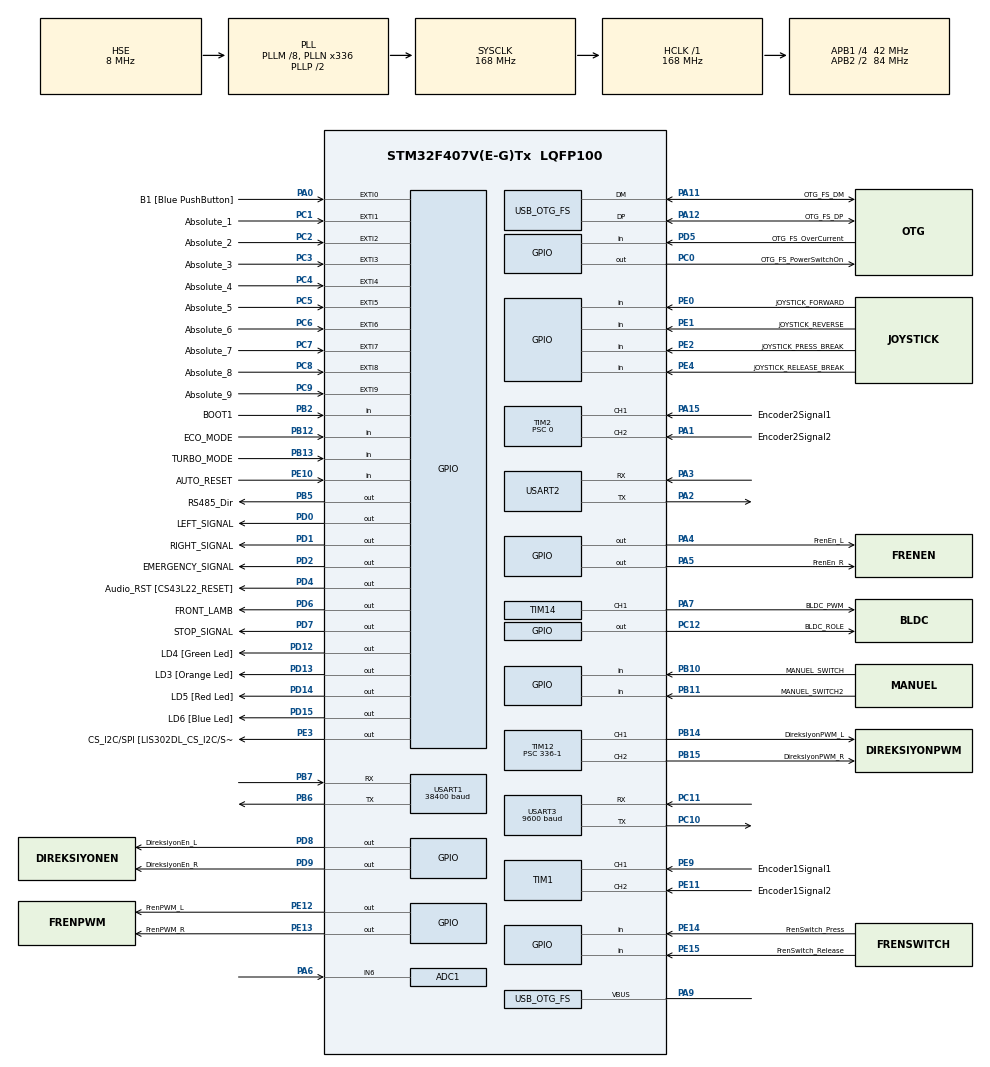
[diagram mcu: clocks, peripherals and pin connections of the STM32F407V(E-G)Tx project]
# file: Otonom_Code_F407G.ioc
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ADC1.Channel-2\#ChannelRegularConversion=ADC_CHANNEL_6
ADC1.ContinuousConvMode=ENABLE
ADC1.NbrOfConversionFlag=1
ADC1.Rank-2\#ChannelRegularConversion=1
ADC1.Resolution=ADC_RESOLUTION_8B
ADC1.SamplingTime-2\#ChannelRegularConversion=ADC_SAMPLETIME_3CYCLES
ADC1.master=1
Mcu.Family=STM32F4
Mcu.Name=STM32F407V(E-G)Tx
Mcu.Package=LQFP100
NVIC.EXTI1_IRQn=true\:0\:0\:false\:false\:true\:true\:true\:true
NVIC.EXTI2_IRQn=true\:0\:0\:false\:false\:true\:true\:true\:true
NVIC.EXTI3_IRQn=true\:0\:0\:false\:false\:true\:true\:true\:true
NVIC.EXTI4_IRQn=true\:0\:0\:false\:false\:true\:true\:true\:true
NVIC.EXTI9_5_IRQn=true\:0\:0\:false\:false\:true\:true\:true\:true
NVIC.OTG_FS_IRQn=true\:0\:0\:false\:false\:true\:true\:true\:true
NVIC.PriorityGroup=NVIC_PRIORITYGROUP_0
NVIC.TIM1_UP_TIM10_IRQn=true\:0\:0\:false\:false\:true\:true\:true\:true
NVIC.USART1_IRQn=true\:0\:0\:false\:false\:true\:true\:true\:true
NVIC.USART3_IRQn=true\:0\:0\:false\:false\:true\:true\:true\:true
PA0-WKUP.GPIO_Label=B1 [Blue PushButton]
PA0-WKUP.GPIO_ModeDefaultEXTI=GPIO_MODE_EVT_RISING
PA0-WKUP.GPIO_PuPd=GPIO_NOPULL
PA0-WKUP.Signal=GPXTI0
PA1.GPIO_Label=Encoder2Signal2
PA1.GPIO_PuPd=GPIO_NOPULL
PA1.Signal=S_TIM2_CH2
PA10.Signal=USB_OTG_FS_ID
PA11.GPIO_Label=OTG_FS_DM
PA11.GPIO_Mode=GPIO_MODE_AF_PP
PA11.GPIO_PuPd=GPIO_NOPULL
PA11.GPIO_Speed=GPIO_SPEED_FREQ_VERY_HIGH
PA11.Mode=Host_Only
PA11.Signal=USB_OTG_FS_DM
PA12.GPIO_Label=OTG_FS_DP
PA12.GPIO_Mode=GPIO_MODE_AF_PP
PA12.GPIO_PuPd=GPIO_NOPULL
PA12.GPIO_Speed=GPIO_SPEED_FREQ_VERY_HIGH
PA12.Mode=Host_Only
PA12.Signal=USB_OTG_FS_DP
PA13.GPIO_Label=SWDIO
PA13.Mode=Serial_Wire
PA13.Signal=SYS_JTMS-SWDIO
PA14.GPIO_Label=SWCLK
PA14.Mode=Serial_Wire
PA14.Signal=SYS_JTCK-SWCLK
PA15.GPIO_Label=Encoder2Signal1
PA15.GPIO_PuPd=GPIO_NOPULL
PA15.Signal=S_TIM2_CH1_ETR
PA2.Mode=Asynchronous
PA2.Signal=USART2_TX
PA3.Mode=Asynchronous
PA3.Signal=USART2_RX
PA4.GPIO_Label=FrenEn_L
PA4.Signal=GPIO_Output
PA5.GPIO_Label=FrenEn_R
PA5.Signal=GPIO_Output
PA6.Signal=ADCx_IN6
PA7.GPIO_Label=BLDC_PWM
PA7.Signal=S_TIM14_CH1
PA9.Mode=Activate_VBUS
PA9.Signal=USB_OTG_FS_VBUS
PB10.GPIO_Label=MANUEL_SWITCH
PB10.GPIO_PuPd=GPIO_PULLUP
PB10.Signal=GPIO_Input
PB11.GPIO_Label=MANUEL_SWITCH2
PB11.GPIO_PuPd=GPIO_PULLUP
PB11.Signal=GPIO_Input
PB12.GPIO_Label=ECO_MODE
PB12.GPIO_PuPd=GPIO_PULLUP
PB12.Signal=GPIO_Input
PB13.GPIO_Label=TURBO_MODE
PB13.GPIO_PuPd=GPIO_PULLUP
PB13.Signal=GPIO_Input
PB14.GPIO_Label=DireksiyonPWM_L
PB14.Signal=S_TIM12_CH1
PB15.GPIO_Label=DireksiyonPWM_R
PB15.Signal=S_TIM12_CH2
PB2.GPIO_Label=BOOT1
PB2.GPIO_Mode=GPIO_MODE_INPUT
PB2.GPIO_PuPd=GPIO_NOPULL
PB2.Signal=GPIO_Input
PB3.GPIO_Label=SWO
PB3.Signal=SYS_JTDO-SWO
PB5.GPIO_Label=RS485_Dir
PB5.Signal=GPIO_Output
PB6.Mode=Asynchronous
PB6.Signal=USART1_TX
PB7.Mode=Asynchronous
PB7.Signal=USART1_RX
PC0.GPIO_Label=OTG_FS_PowerSwitchOn
PC0.GPIO_PuPd=GPIO_NOPULL
PC0.GPIO_Speed=GPIO_SPEED_FREQ_LOW
PC0.PinState=GPIO_PIN_SET
PC0.Signal=GPIO_Output
PC1.GPIO_Label=Absolute_1
PC1.GPIO_ModeDefaultEXTI=GPIO_MODE_IT_RISING_FALLING
PC1.Signal=GPXTI1
PC10.Mode=Asynchronous
PC10.Signal=USART3_TX
PC11.Mode=Asynchronous
PC11.Signal=USART3_RX
PC12.GPIO_Label=BLDC_ROLE
PC12.GPIO_PuPd=GPIO_PULLDOWN
PC12.Signal=GPIO_Output
PC14-OSC32_IN.GPIO_Label=PC14-OSC32_IN
PC14-OSC32_IN.Mode=LSE-External-Oscillator
PC14-OSC32_IN.Signal=RCC_OSC32_IN
PC15-OSC32_OUT.GPIO_Label=PC15-OSC32_OUT
PC15-OSC32_OUT.Mode=LSE-External-Oscillator
PC15-OSC32_OUT.Signal=RCC_OSC32_OUT
PC2.GPIO_Label=Absolute_2
PC2.GPIO_ModeDefaultEXTI=GPIO_MODE_IT_RISING_FALLING
PC2.Signal=GPXTI2
PC3.GPIO_Label=Absolute_3
PC3.GPIO_ModeDefaultEXTI=GPIO_MODE_IT_RISING_FALLING
PC3.Signal=GPXTI3
PC4.GPIO_Label=Absolute_4
PC4.GPIO_ModeDefaultEXTI=GPIO_MODE_IT_RISING_FALLING
PC4.Signal=GPXTI4
PC5.GPIO_Label=Absolute_5
PC5.GPIO_ModeDefaultEXTI=GPIO_MODE_IT_RISING_FALLING
PC5.Signal=GPXTI5
PC6.GPIO_Label=Absolute_6
PC6.GPIO_ModeDefaultEXTI=GPIO_MODE_IT_RISING_FALLING
PC6.Signal=GPXTI6
PC7.GPIO_Label=Absolute_7
PC7.GPIO_ModeDefaultEXTI=GPIO_MODE_IT_RISING_FALLING
PC7.Signal=GPXTI7
PC8.GPIO_Label=Absolute_8
PC8.GPIO_ModeDefaultEXTI=GPIO_MODE_IT_RISING_FALLING
PC8.Signal=GPXTI8
PC9.GPIO_Label=Absolute_9
PC9.GPIO_ModeDefaultEXTI=GPIO_MODE_IT_RISING_FALLING
PC9.Signal=GPXTI9
PD0.GPIO_Label=LEFT_SIGNAL
PD0.GPIO_PuPd=GPIO_PULLDOWN
PD0.Signal=GPIO_Output
PD1.GPIO_Label=RIGHT_SIGNAL
PD1.GPIO_PuPd=GPIO_PULLDOWN
PD1.Signal=GPIO_Output
PD12.GPIO_Label=LD4 [Green Led]
PD12.GPIO_PuPd=GPIO_NOPULL
PD12.GPIO_Speed=GPIO_SPEED_FREQ_LOW
PD12.Signal=GPIO_Output
PD13.GPIO_Label=LD3 [Orange Led]
PD13.GPIO_PuPd=GPIO_NOPULL
PD13.GPIO_Speed=GPIO_SPEED_FREQ_LOW
PD13.Signal=GPIO_Output
PD14.GPIO_Label=LD5 [Red Led]
PD14.GPIO_PuPd=GPIO_NOPULL
PD14.GPIO_Speed=GPIO_SPEED_FREQ_LOW
PD14.Signal=GPIO_Output
PD15.GPIO_Label=LD6 [Blue Led]
PD15.GPIO_PuPd=GPIO_NOPULL
PD15.GPIO_Speed=GPIO_SPEED_FREQ_LOW
PD15.Signal=GPIO_Output
PD2.GPIO_Label=EMERGENCY_SIGNAL
PD2.GPIO_PuPd=GPIO_PULLUP
PD2.Signal=GPIO_Output
PD4.GPIO_Label=Audio_RST [CS43L22_RESET]
PD4.GPIO_PuPd=GPIO_NOPULL
PD4.GPIO_Speed=GPIO_SPEED_FREQ_LOW
PD4.Signal=GPIO_Output
PD5.GPIO_Label=OTG_FS_OverCurrent
PD5.GPIO_Mode=GPIO_MODE_INPUT
PD5.GPIO_PuPd=GPIO_NOPULL
PD5.Signal=GPIO_Input
PD6.GPIO_Label=FRONT_LAMB
PD6.GPIO_PuPd=GPIO_PULLDOWN
PD6.Signal=GPIO_Output
PD7.GPIO_Label=STOP_SIGNAL
PD7.GPIO_PuPd=GPIO_PULLDOWN
PD7.Signal=GPIO_Output
PD8.GPIO_Label=DireksiyonEn_L
PD8.Signal=GPIO_Output
PD9.GPIO_Label=DireksiyonEn_R
PD9.Signal=GPIO_Output
PE0.GPIO_Label=JOYSTICK_FORWARD
PE0.GPIO_PuPd=GPIO_PULLUP
PE0.Signal=GPIO_Input
PE1.GPIO_Label=JOYSTICK_REVERSE
PE1.GPIO_PuPd=GPIO_PULLUP
PE1.Signal=GPIO_Input
PE10.GPIO_Label=AUTO_RESET
PE10.GPIO_PuPd=GPIO_PULLUP
PE10.Signal=GPIO_Input
PE11.GPIO_Label=Encoder1Signal2
PE11.Signal=S_TIM1_CH2
PE12.GPIO_Label=FrenPWM_L
PE12.Signal=GPIO_Output
PE13.GPIO_Label=FrenPWM_R
PE13.Signal=GPIO_Output
PE14.GPIO_Label=FrenSwitch_Press
PE14.GPIO_PuPd=GPIO_PULLUP
PE14.Signal=GPIO_Input
PE15.GPIO_Label=FrenSwitch_Release
PE15.GPIO_PuPd=GPIO_PULLUP
PE15.Signal=GPIO_Input
PE2.GPIO_Label=JOYSTICK_PRESS_BREAK
PE2.GPIO_PuPd=GPIO_PULLUP
PE2.Signal=GPIO_Input
PE3.GPIO_Label=CS_I2C/SPI [LIS302DL_CS_I2C/SPI]
PE3.GPIO_PuPd=GPIO_NOPULL
PE3.GPIO_Speed=GPIO_SPEED_FREQ_LOW
PE3.Signal=GPIO_Output
PE4.GPIO_Label=JOYSTICK_RELEASE_BREAK
PE4.GPIO_PuPd=GPIO_PULLUP
PE4.Signal=GPIO_Input
PE9.GPIO_Label=Encoder1Signal1
PE9.Signal=S_TIM1_CH1
PH0-OSC_IN.GPIO_Label=PH0-OSC_IN
PH0-OSC_IN.Mode=HSE-External-Clock-Source
PH0-OSC_IN.Signal=RCC_OSC_IN
PH1-OSC_OUT.GPIO_Label=PH1-OSC_OUT
PH1-OSC_OUT.Mode=HSE-External-Clock-Source
PH1-OSC_OUT.Signal=RCC_OSC_OUT
ProjectManager.HeapSize=0x200
ProjectManager.StackSize=0x400
ProjectManager.TargetToolchain=STM32CubeIDE
RCC.48MHZClocksFreq_Value=48000000
RCC.AHBFreq_Value=168000000
RCC.APB1CLKDivider=RCC_HCLK_DIV4
RCC.APB1Freq_Value=42000000
RCC.APB1TimFreq_Value=84000000
RCC.APB2CLKDivider=RCC_HCLK_DIV2
RCC.APB2Freq_Value=84000000
RCC.APB2TimFreq_Value=168000000
RCC.CortexFreq_Value=168000000
RCC.HCLKFreq_Value=168000000
RCC.HSE_VALUE=8000000
RCC.HSI_VALUE=16000000
RCC.PLLM=8
RCC.PLLN=336
RCC.PLLQ=7
RCC.SYSCLKFreq_VALUE=168000000
RCC.SYSCLKSource=RCC_SYSCLKSOURCE_PLLCLK
RCC.VCOOutputFreq_Value=336000000
SH.ADCx_IN6.0=ADC1_IN6,IN6
SH.S_TIM12_CH1.0=TIM12_CH1,PWM Generation1 CH1
SH.S_TIM12_CH2.0=TIM12_CH2,PWM Generation2 CH2
SH.S_TIM14_CH1.0=TIM14_CH1,PWM Generation1 CH1
SH.S_TIM1_CH1.0=TIM1_CH1,Encoder_Interface
SH.S_TIM1_CH2.0=TIM1_CH2,Encoder_Interface
SH.S_TIM2_CH1_ETR.0=TIM2_CH1,Encoder_Interface
SH.S_TIM2_CH2.0=TIM2_CH2,Encoder_Interface
TIM1.EncoderMode=TIM_ENCODERMODE_TI12
TIM10.Period=100-1
TIM10.Prescaler=336-1
TIM12.Channel-PWM\ Generation1\ CH1=TIM_CHANNEL_1
TIM12.Channel-PWM\ Generation2\ CH2=TIM_CHANNEL_2
TIM12.Period=100-1
TIM12.Prescaler=336-1
TIM14.Channel=TIM_CHANNEL_1
TIM14.Period=100-1
TIM14.Prescaler=840-1
TIM2.Prescaler=0
USART1.BaudRate=38400
USART1.VirtualMode=VM_ASYNC
USART2.VirtualMode=VM_ASYNC
USART3.BaudRate=9600
USART3.VirtualMode=VM_ASYNC
USB_HOST.BSP.number=1
USB_HOST.USBH_HandleTypeDef-HID_FS=hUsbHostFS
USB_HOST.VirtualModeFS=Hid
USB_HOST0.BSP.STBoard=false
USB_HOST0.BSP.api=Unknown
USB_HOST0.BSP.condition=SW_VBUS_DRIVE_HID_FS \= false
USB_HOST0.BSP.instance=PC0
USB_HOST0.BSP.ip=GPIO
USB_HOST0.BSP.mode=Output
USB_HOST0.BSP.name=Drive_VBUS_FS
USB_HOST0.BSP.solution=PC0
USB_OTG_FS.VirtualMode=Host_Only
USB_OTG_FS.phy_itface=HCD_PHY_EMBEDDED
VP_TIM10_VS_ClockSourceINT.Mode=Enable_Timer
VP_TIM14_VS_ClockSourceINT.Mode=Enable_Timer
VP_USB_HOST_VS_USB_HOST_HID_FS.Mode=HID_FS
board=STM32F407G-DISC1

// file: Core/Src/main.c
/* USER CODE BEGIN Header */
/**
  ******************************************************************************
  * @file           : main.c
  * @brief          : Main program body
  ******************************************************************************
  * @attention
  *
  * Copyright (c) 2023 STMicroelectronics.
  * All rights reserved.
  *
  * This software is licensed under terms that can be found in the LICENSE file
  * in the root directory of this software component.
  * If no LICENSE file comes with this software, it is provided AS-IS.
  *
  ******************************************************************************
  */

/**
 ***************************************************************************************
 *Merhaba arkadaşlar Otonom AKS son kodu aşağıda görüldüğü gibidir lütfen kodlar üstünde (2023-2024)
 *Oynama yapılmamalıdır
 *Berkay Aşık
 *Samet Aygün
 *Kaan Avcı
 *Esma Arhan
 *Emirhan Akdemir tarafından hazırlanmıştır.
 *Everything for my everything
 *
 ***************************************************************************************
 */

/* USER CODE END Header */
#include "main.h"
#include "usb_host.h"

/* USER CODE BEGIN Includes */
#include "../../modules/wheels/wheel.h"
#include "../../modules/break/break.h"
#include "../../modules/bldc/bldc.h"
#include "../../modules/modbus/modbus.h"
#include "../../modules/role/role.h"
#include "../../modules/manuel/manuel.h"
#include "lwgps/lwgps.h"
#include "usbh_hid.h"

wheel_adjust_t wheelParameters = {0} ;
switchBreak_adjust_t breakParameters = {0};
role_State_Adjust_t roleParameters = {0};
manuel_mode_t manuelParameters = {0};
int16_t back_Encoder = 0;
uint16_t wantedWheelDegree = 0;
int16_t wantedSpeed=0;
int16_t resetBackEncoder =0;
uint8_t setAdc  = 6;
uint8_t setSpeed = 10;
uint8_t pActiveCount = 0;
int16_t isReset=0;
char key;

lwgps_t gps;
uint8_t rx_data = 0;
uint8_t rx_buffer[128];
uint8_t rx_index = 0;

modbusRegister_t ModbusRegister[MODBUS_REGISTER_NUMBER];

#define wheel_offset 0 // Eğer ki offset (0 noktasında encoderın değeri) 0 değil ise değeri -4 ile çarp, +4 ekle ve  wheel_offsetin şuanki durumu ile topla (Direksiyon İçin)

/* USER CODE END Includes */

ADC_HandleTypeDef hadc1;

TIM_HandleTypeDef htim1;
TIM_HandleTypeDef htim2;
TIM_HandleTypeDef htim10;
TIM_HandleTypeDef htim12;
TIM_HandleTypeDef htim14;

UART_HandleTypeDef huart1;
UART_HandleTypeDef huart2;
UART_HandleTypeDef huart3;

void SystemClock_Config(void);
static void MX_GPIO_Init(void);
static void MX_TIM1_Init(void);
static void MX_TIM2_Init(void);
static void MX_TIM12_Init(void);
static void MX_TIM14_Init(void);
static void MX_USART1_UART_Init(void);
static void MX_USART2_UART_Init(void);
static void MX_TIM10_Init(void);
static void MX_ADC1_Init(void);
static void MX_USART3_UART_Init(void);
void MX_USB_HOST_Process(void);

/* USER CODE BEGIN 0 */

void USBH_HID_EventCallback(USBH_HandleTypeDef *phost){

	if (USBH_HID_GetDeviceType(phost)==HID_KEYBOARD){

		HID_KEYBD_Info_TypeDef *keyboardInfo;

		keyboardInfo = USBH_HID_GetKeybdInfo(phost);
		key  =  USBH_HID_GetASCIICode(keyboardInfo);

	}

}

void HAL_UART_RxCpltCallback(UART_HandleTypeDef *huart)
{
	if(huart == &huart3) {
		if(rx_data != '\n' && rx_index < sizeof(rx_buffer)) {
			rx_buffer[rx_index++] = rx_data;
		} else {
			lwgps_process(&gps, rx_buffer, rx_index+1);
			rx_index = 0;
			rx_data = 0;
		}
	}
	HAL_UART_Receive_IT(&huart3, &rx_data, 1); // Bu if bloğunun içinde olduğundan herhalde data göndermiyor olabilir ama bilmiyorum

}

void HAL_TIM_PeriodElapsedCallback(TIM_HandleTypeDef *htim)
{

	if(htim->Instance == TIM10)
	{

		switchAdjust(&roleParameters);  //Röle ayarlama kodu
		getMode(&manuelParameters);    // Mod ayarlama kodu

//****AUTO RESET CODE BEGIN****//

		if (!HAL_GPIO_ReadPin(AUTO_RESET_GPIO_Port, AUTO_RESET_Pin)) {

					isReset = 1;
				}

//****AUTO RESET CODE END****//

//****JOYSTICK CODE AUTOMODE BEGIN****//

		if(manuelParameters.mod == AUTOMODE){

			adjustBldc(wantedSpeed); // Hız ayarlama kodu

		}

//****JOYSTICK CODE AUTOMODE END****//

//****JOYSTICK CODE BEGIN****//

if(manuelParameters.mod==MANUELMODE || manuelParameters.mod==PRIVATMODE ){

		readAdc_speed(&manuelParameters);

   if(!HAL_GPIO_ReadPin(JOYSTICK_REVERSE_GPIO_Port, JOYSTICK_REVERSE_Pin)){

	   	roleParameters.bldc_signal_i=1;
		delay_ms(100);
		wantedSpeed=0;
		adjustBldc(wantedSpeed);
		delay_ms(100);

		if (manuelParameters.adc_Speed <= 6) {
		wantedSpeed = manuelParameters.adc_Speed;
		adjustBldc(wantedSpeed);
		}
		else if (manuelParameters.adc_Speed > 6 ) {
			wantedSpeed = 6;
			adjustBldc(wantedSpeed);
		}
	}

	if(!HAL_GPIO_ReadPin(JOYSTICK_PRESS_BREAK_GPIO_Port,JOYSTICK_PRESS_BREAK_Pin)){

		wantedSpeed=0;
		adjustBldc(wantedSpeed);
		delay_ms(100);
		breakParameters.pressing_break=1;
		breakAdjust(&breakParameters,&roleParameters);
		breakCheckSwitchStatus(&breakParameters);

	}

	if(!HAL_GPIO_ReadPin(JOYSTICK_RELEASE_BREAK_GPIO_Port,JOYSTICK_RELEASE_BREAK_Pin)){

		wantedSpeed=0;
		adjustBldc(wantedSpeed);
		delay_ms(100);
		breakParameters.pressing_break=0;
		breakAdjust(&breakParameters,&roleParameters);
		breakCheckSwitchStatus(&breakParameters);

	}

//**MANUELMODE CODE BEGIN**//

if(manuelParameters.mod==MANUELMODE){

if(!HAL_GPIO_ReadPin(JOYSTICK_FORWARD_GPIO_Port, JOYSTICK_FORWARD_Pin)){

		roleParameters.bldc_signal_i=0;
		delay_ms(100);
		wantedSpeed=0;
		adjustBldc(wantedSpeed);
		delay_ms(100);

		wantedSpeed = manuelParameters.adc_Speed;
		adjustBldc(wantedSpeed);

	}
}

//**MANUELMODE CODE END**//

//**PRIVATMODE CODE BEGIN**//

if(manuelParameters.mod==PRIVATMODE){

	if(!HAL_GPIO_ReadPin(JOYSTICK_FORWARD_GPIO_Port, JOYSTICK_FORWARD_Pin)){

			roleParameters.bldc_signal_i=0;
			delay_ms(100);
			wantedSpeed=0;
			adjustBldc(wantedSpeed);
			delay_ms(100);

			wantedSpeed = manuelParameters.adc_Speed;
			adjustBldc(wantedSpeed);

		}
	}

//**PRIVATMODE CODE END**//

	}

//****JOYSTICK CODE END****//

//****REMOTECONTROLMODE CODE BEGIN****//

	if(key== 'w' ||key=='W'){

		roleParameters.bldc_signal_i =0;
		adjustBldc(0);
		wantedSpeed = 6;
		adjustBldc(wantedSpeed);

	}

	if(key== 'a' ||key=='A'){

	wheelParameters.wantedDegreeTemp=wheelParameters.wantedDegreeTemp+-1;

	}

	if(key== 'd' ||key=='D'){

			wheelParameters.wantedDegreeTemp=wheelParameters.wantedDegreeTemp+1;

	}

	if(key== 's' ||key=='S'){

		roleParameters.bldc_signal_i =1;
		adjustBldc(0);
		wantedSpeed = 6;
		adjustBldc(wantedSpeed);

	}

	if(key== 'z' ||key=='Z'){

		wantedSpeed = 0;
		adjustBldc(wantedSpeed);
		breakParameters.pressing_break =0;

				}

	if(key== 'x' ||key=='X'){

		wantedSpeed = 0;
		adjustBldc(wantedSpeed);
		breakParameters.pressing_break =1;

			}

	if(key== 'e' ||key=='E'){

		roleParameters.emergency_signal_i=1;

				}

	if(key== 'q' ||key=='Q'){

			isReset=1;

	}

//****REMOTECONTROLMODE END****//

		breakCheckSwitchStatus(&breakParameters);   // BREAK SWITCH CONTROL
		breakAdjust(&breakParameters,&roleParameters);  // BREAK PRESS CONTROL

//****WHEEL CODE BEGIN****//

		//wheel_degree = (GPIOB->IDR >> 4)&0x1FF;
		if(HAL_GPIO_ReadPin(B1_GPIO_Port, B1_Pin)){
			__HAL_TIM_SET_COUNTER(&htim1,0);
			wheelParameters.wantedDegree = 0;
		}

		wheelParameters.wheel_manuel = (((int16_t)__HAL_TIM_GET_COUNTER(&htim1) >> 6)* (-1) );

		 wheelParameters.currrentDegreeTemp = (((GPIOC->IDR) >> 1) & 0x1FF);
		 wheelParameters.currrentDegreeTemp += wheel_offset;
		 if(wheelParameters.currrentDegreeTemp > 180) {
			 wheelParameters.currrentDegreeTemp -= 360;
		 }
		 wheelParameters.currrentDegreeTemp = wheelParameters.currrentDegreeTemp >> 2;
		 wheelParameters.currrentDegree = wheelParameters.currrentDegreeTemp;

		 back_Encoder = ((int16_t)__HAL_TIM_GET_COUNTER(&htim2) / 2.25) ;  // Arka encoder okuma

		if (wheelParameters.wantedDegreeTemp > 40 && (manuelParameters.mod == AUTOMODE || manuelParameters.mod==REMOTECONTROLMODE )){
			wheelParameters.wantedDegreeTemp=40;
			wheelParameters.wantedDegree = 40;
		}
		else if (wheelParameters.wantedDegreeTemp < -40  && (manuelParameters.mod == AUTOMODE || manuelParameters.mod==REMOTECONTROLMODE)){
			wheelParameters.wantedDegreeTemp= -40;

			wheelParameters.wantedDegree = -40;
		}
		else if (manuelParameters.mod == AUTOMODE) {
			wheelParameters.wantedDegree= wheelParameters.wantedDegreeTemp;
		}
		else if (wheelParameters.wheel_manuel > 40 && (manuelParameters.mod == MANUELMODE ||  manuelParameters.mod == PRIVATMODE)) {
			wheelParameters.wantedDegree = 40;

		}
		else if (wheelParameters.wheel_manuel < -40  && (manuelParameters.mod == MANUELMODE ||  manuelParameters.mod == PRIVATMODE)) {
					wheelParameters.wantedDegree = -40;
		}

		else {
			wheelParameters.wantedDegree = wheelParameters.wheel_manuel;

		}
		if(wheelParameters.wantedDegree > wheelParameters.currrentDegree)
		{

			if(wheelParameters.status != TurningRight)
			{
				//Turn Wheel Right
				//Call Function that turn wheel Right
				wheelParameters.status = TurningRight;
				wheelTurnRight(&wheelParameters);
			}
		}
		else if(wheelParameters.wantedDegree < wheelParameters.currrentDegree)
		{

			if(wheelParameters.status != TurningLeft)
			{
				//Turn Wheel Left
				//Call Function that turn wheels Left
				wheelParameters.status = TurningLeft;
				wheelTurnLeft(&wheelParameters);
			}
		}
		else
		{
			//Stop Turn Right Command And Left Command
			if(wheelParameters.status != NoTurning)
			{
				//Stop Wheel
				//Call Function Stop wheels
				wheelParameters.status = NoTurning;
				wheelStop(&wheelParameters);
			}
		}

	}

}

//****WHEEL CODE END****//

//****ADJUST MODBUS REGISTER BEGIN****//

void pointerWorks(){

	ModbusRegister[0].modbusregister = &wheelParameters.wantedDegreeTemp;
	ModbusRegister[1].modbusregister = &breakParameters.pressing_break;
	ModbusRegister[2].modbusregister = &wantedSpeed;
	ModbusRegister[3].modbusregister = &wheelParameters.currrentDegree;
	ModbusRegister[4].modbusregister = (int16_t *)breakParameters.switchStatus_press;
	ModbusRegister[5].modbusregister = (int16_t *)breakParameters.switchStatus_release;
	ModbusRegister[6].modbusregister = &back_Encoder;
	ModbusRegister[7].modbusregister = &roleParameters.bldc_signal_i;
	ModbusRegister[8].modbusregister = &roleParameters.left_signal_i;
	ModbusRegister[9].modbusregister = &roleParameters.right_signal_i;
	ModbusRegister[10].modbusregister = &roleParameters.emergency_signal_i;
	ModbusRegister[11].modbusregister = &roleParameters.front_signal_i;
	ModbusRegister[12].modbusregister = (int16_t *)&manuelParameters.mod;
	ModbusRegister[13].modbusregister = &resetBackEncoder;
	ModbusRegister[14].modbusregister = (int16_t *)&gps.latitude;
	ModbusRegister[15].modbusregister = (int16_t *)&gps.longitude;
	ModbusRegister[16].modbusregister = (int16_t *)&gps.speed;
	ModbusRegister[17].modbusregister = (int16_t *)&gps.altitude;
	ModbusRegister[18].modbusregister = (int16_t *)&gps.is_valid;

}
//****ADJUST MODBUS REGISTER END****//

/* USER CODE END 0 */

int main(void)
{

  /* MCU Configuration--------------------------------------------------------*/

  /* Reset of all peripherals, Initializes the Flash interface and the Systick. */
  HAL_Init();

  /* Configure the system clock */
  SystemClock_Config();

  /* Initialize all configured peripherals */
  MX_GPIO_Init();
  MX_TIM1_Init();
  MX_TIM2_Init();
  MX_TIM12_Init();
  MX_TIM14_Init();
  MX_USART1_UART_Init();
  MX_USART2_UART_Init();
  MX_USB_HOST_Init();
  MX_TIM10_Init();
  MX_ADC1_Init();
  MX_USART3_UART_Init();
  /* USER CODE BEGIN 2 */
  HAL_TIM_Encoder_Start_IT(&htim1, TIM_CHANNEL_ALL);
  HAL_TIM_Encoder_Start_IT(&htim2, TIM_CHANNEL_ALL);
  HAL_TIM_Base_Start_IT(&htim10);
  wheelInit();
  bldcInit();
  breakInit();
  pointerWorks();
  modbus_Init(ModbusRegister);
  HAL_ADC_Init(&hadc1);
  HAL_GPIO_WritePin(GPIOC, GPIO_PIN_0, GPIO_PIN_RESET);
  lwgps_init(&gps);
  HAL_UART_Receive_IT(&huart3, &rx_data, 1);

  /* USER CODE END 2 */

  /* Infinite loop */
  /* USER CODE BEGIN WHILE */
  while (1)
  {
	    MX_USB_HOST_Process();

	    modbus_Loop();   //MODBUS COMMUNACATION BEGIN

	     if(isReset ==1){

	    			wheelParameters.wantedDegreeTemp=0;
	    			breakParameters.pressing_break=0;
	    			__HAL_TIM_SET_COUNTER(&htim2,0);
	    			isReset=0;

	    		}
	    		if(resetBackEncoder==1){
	    			__HAL_TIM_SET_COUNTER(&htim2,0);
	    			roleParameters.bldc_signal_i=0;
	    			resetBackEncoder=0;
	    		}

    /* USER CODE END WHILE */
    MX_USB_HOST_Process();

  }
}

void SystemClock_Config(void)
{
  RCC_OscInitTypeDef RCC_OscInitStruct = {0};
  RCC_ClkInitTypeDef RCC_ClkInitStruct = {0};

  /** Configure the main internal regulator output voltage
  */
  __HAL_RCC_PWR_CLK_ENABLE();
  __HAL_PWR_VOLTAGESCALING_CONFIG(PWR_REGULATOR_VOLTAGE_SCALE1);

  /** Initializes the RCC Oscillators according to the specified parameters
  * in the RCC_OscInitTypeDef structure.
  */
  RCC_OscInitStruct.OscillatorType = RCC_OSCILLATORTYPE_HSE;
  RCC_OscInitStruct.HSEState = RCC_HSE_BYPASS;
  RCC_OscInitStruct.PLL.PLLState = RCC_PLL_ON;
  RCC_OscInitStruct.PLL.PLLSource = RCC_PLLSOURCE_HSE;
  RCC_OscInitStruct.PLL.PLLM = 8;
  RCC_OscInitStruct.PLL.PLLN = 336;
  RCC_OscInitStruct.PLL.PLLP = RCC_PLLP_DIV2;
  RCC_OscInitStruct.PLL.PLLQ = 7;
  if (HAL_RCC_OscConfig(&RCC_OscInitStruct) != HAL_OK)
  {
    Error_Handler();
  }

  /** Initializes the CPU, AHB and APB buses clocks
  */
  RCC_ClkInitStruct.ClockType = RCC_CLOCKTYPE_HCLK|RCC_CLOCKTYPE_SYSCLK
                              |RCC_CLOCKTYPE_PCLK1|RCC_CLOCKTYPE_PCLK2;
  RCC_ClkInitStruct.SYSCLKSource = RCC_SYSCLKSOURCE_PLLCLK;
  RCC_ClkInitStruct.AHBCLKDivider = RCC_SYSCLK_DIV1;
  RCC_ClkInitStruct.APB1CLKDivider = RCC_HCLK_DIV4;
  RCC_ClkInitStruct.APB2CLKDivider = RCC_HCLK_DIV2;

  if (HAL_RCC_ClockConfig(&RCC_ClkInitStruct, FLASH_LATENCY_5) != HAL_OK)
  {
    Error_Handler();
  }
}

static void MX_ADC1_Init(void)
{

  ADC_ChannelConfTypeDef sConfig = {0};

  /** Configure the global features of the ADC (Clock, Resolution, Data Alignment and number of conversion)
  */
  hadc1.Instance = ADC1;
  hadc1.Init.ClockPrescaler = ADC_CLOCK_SYNC_PCLK_DIV4;
  hadc1.Init.Resolution = ADC_RESOLUTION_8B;
  hadc1.Init.ScanConvMode = DISABLE;
  hadc1.Init.ContinuousConvMode = ENABLE;
  hadc1.Init.DiscontinuousConvMode = DISABLE;
  hadc1.Init.ExternalTrigConvEdge = ADC_EXTERNALTRIGCONVEDGE_NONE;
  hadc1.Init.ExternalTrigConv = ADC_SOFTWARE_START;
  hadc1.Init.DataAlign = ADC_DATAALIGN_RIGHT;
  hadc1.Init.NbrOfConversion = 1;
  hadc1.Init.DMAContinuousRequests = DISABLE;
  hadc1.Init.EOCSelection = ADC_EOC_SINGLE_CONV;
  if (HAL_ADC_Init(&hadc1) != HAL_OK)
  {
    Error_Handler();
  }

  /** Configure for the selected ADC regular channel its corresponding rank in the sequencer and its sample time.
  */
  sConfig.Channel = ADC_CHANNEL_6;
  sConfig.Rank = 1;
  sConfig.SamplingTime = ADC_SAMPLETIME_3CYCLES;
  if (HAL_ADC_ConfigChannel(&hadc1, &sConfig) != HAL_OK)
  {
    Error_Handler();
  }

}

static void MX_TIM1_Init(void)
{

  TIM_Encoder_InitTypeDef sConfig = {0};
  TIM_MasterConfigTypeDef sMasterConfig = {0};

  htim1.Instance = TIM1;
  htim1.Init.Prescaler = 0;
  htim1.Init.CounterMode = TIM_COUNTERMODE_UP;
  htim1.Init.Period = 65535;
  htim1.Init.ClockDivision = TIM_CLOCKDIVISION_DIV1;
  htim1.Init.RepetitionCounter = 0;
  htim1.Init.AutoReloadPreload = TIM_AUTORELOAD_PRELOAD_DISABLE;
  sConfig.EncoderMode = TIM_ENCODERMODE_TI12;
  sConfig.IC1Polarity = TIM_ICPOLARITY_RISING;
  sConfig.IC1Selection = TIM_ICSELECTION_DIRECTTI;
  sConfig.IC1Prescaler = TIM_ICPSC_DIV1;
  sConfig.IC1Filter = 0;
  sConfig.IC2Polarity = TIM_ICPOLARITY_RISING;
  sConfig.IC2Selection = TIM_ICSELECTION_DIRECTTI;
  sConfig.IC2Prescaler = TIM_ICPSC_DIV1;
  sConfig.IC2Filter = 0;
  if (HAL_TIM_Encoder_Init(&htim1, &sConfig) != HAL_OK)
  {
    Error_Handler();
  }
  sMasterConfig.MasterOutputTrigger = TIM_TRGO_RESET;
  sMasterConfig.MasterSlaveMode = TIM_MASTERSLAVEMODE_DISABLE;
  if (HAL_TIMEx_MasterConfigSynchronization(&htim1, &sMasterConfig) != HAL_OK)
  {
    Error_Handler();
  }

}

static void MX_TIM2_Init(void)
{

  TIM_Encoder_InitTypeDef sConfig = {0};
  TIM_MasterConfigTypeDef sMasterConfig = {0};

  htim2.Instance = TIM2;
  htim2.Init.Prescaler = 0;
  htim2.Init.CounterMode = TIM_COUNTERMODE_UP;
  htim2.Init.Period = 4294967295;
  htim2.Init.ClockDivision = TIM_CLOCKDIVISION_DIV1;
  htim2.Init.AutoReloadPreload = TIM_AUTORELOAD_PRELOAD_DISABLE;
  sConfig.EncoderMode = TIM_ENCODERMODE_TI1;
  sConfig.IC1Polarity = TIM_ICPOLARITY_RISING;
  sConfig.IC1Selection = TIM_ICSELECTION_DIRECTTI;
  sConfig.IC1Prescaler = TIM_ICPSC_DIV1;
  sConfig.IC1Filter = 0;
  sConfig.IC2Polarity = TIM_ICPOLARITY_RISING;
  sConfig.IC2Selection = TIM_ICSELECTION_DIRECTTI;
  sConfig.IC2Prescaler = TIM_ICPSC_DIV1;
  sConfig.IC2Filter = 0;
  if (HAL_TIM_Encoder_Init(&htim2, &sConfig) != HAL_OK)
  {
    Error_Handler();
  }
  sMasterConfig.MasterOutputTrigger = TIM_TRGO_RESET;
  sMasterConfig.MasterSlaveMode = TIM_MASTERSLAVEMODE_DISABLE;
  if (HAL_TIMEx_MasterConfigSynchronization(&htim2, &sMasterConfig) != HAL_OK)
  {
    Error_Handler();
  }

}

static void MX_TIM10_Init(void)
{

  htim10.Instance = TIM10;
  htim10.Init.Prescaler = 336-1;
  htim10.Init.CounterMode = TIM_COUNTERMODE_UP;
  htim10.Init.Period = 100-1;
  htim10.Init.ClockDivision = TIM_CLOCKDIVISION_DIV1;
  htim10.Init.AutoReloadPreload = TIM_AUTORELOAD_PRELOAD_DISABLE;
  if (HAL_TIM_Base_Init(&htim10) != HAL_OK)
  {
    Error_Handler();
  }

}

static void MX_TIM12_Init(void)
{

  TIM_OC_InitTypeDef sConfigOC = {0};

  htim12.Instance = TIM12;
  htim12.Init.Prescaler = 336-1;
  htim12.Init.CounterMode = TIM_COUNTERMODE_UP;
  htim12.Init.Period = 100-1;
  htim12.Init.ClockDivision = TIM_CLOCKDIVISION_DIV1;
  htim12.Init.AutoReloadPreload = TIM_AUTORELOAD_PRELOAD_DISABLE;
  if (HAL_TIM_PWM_Init(&htim12) != HAL_OK)
  {
    Error_Handler();
  }
  sConfigOC.OCMode = TIM_OCMODE_PWM1;
  sConfigOC.Pulse = 0;
  sConfigOC.OCPolarity = TIM_OCPOLARITY_HIGH;
  sConfigOC.OCFastMode = TIM_OCFAST_DISABLE;
  if (HAL_TIM_PWM_ConfigChannel(&htim12, &sConfigOC, TIM_CHANNEL_1) != HAL_OK)
  {
    Error_Handler();
  }
  if (HAL_TIM_PWM_ConfigChannel(&htim12, &sConfigOC, TIM_CHANNEL_2) != HAL_OK)
  {
    Error_Handler();
  }
  HAL_TIM_MspPostInit(&htim12);

}

static void MX_TIM14_Init(void)
{

  TIM_OC_InitTypeDef sConfigOC = {0};

  htim14.Instance = TIM14;
  htim14.Init.Prescaler = 840-1;
  htim14.Init.CounterMode = TIM_COUNTERMODE_UP;
  htim14.Init.Period = 100-1;
  htim14.Init.ClockDivision = TIM_CLOCKDIVISION_DIV1;
  htim14.Init.AutoReloadPreload = TIM_AUTORELOAD_PRELOAD_DISABLE;
  if (HAL_TIM_Base_Init(&htim14) != HAL_OK)
  {
    Error_Handler();
  }
  if (HAL_TIM_PWM_Init(&htim14) != HAL_OK)
  {
    Error_Handler();
  }
  sConfigOC.OCMode = TIM_OCMODE_PWM1;
  sConfigOC.Pulse = 0;
  sConfigOC.OCPolarity = TIM_OCPOLARITY_HIGH;
  sConfigOC.OCFastMode = TIM_OCFAST_DISABLE;
  if (HAL_TIM_PWM_ConfigChannel(&htim14, &sConfigOC, TIM_CHANNEL_1) != HAL_OK)
  {
    Error_Handler();
  }
  HAL_TIM_MspPostInit(&htim14);

}

static void MX_USART1_UART_Init(void)
{

  huart1.Instance = USART1;
  huart1.Init.BaudRate = 38400;
  huart1.Init.WordLength = UART_WORDLENGTH_8B;
  huart1.Init.StopBits = UART_STOPBITS_1;
  huart1.Init.Parity = UART_PARITY_NONE;
  huart1.Init.Mode = UART_MODE_TX_RX;
  huart1.Init.HwFlowCtl = UART_HWCONTROL_NONE;
  huart1.Init.OverSampling = UART_OVERSAMPLING_16;
  if (HAL_UART_Init(&huart1) != HAL_OK)
  {
    Error_Handler();
  }

}

static void MX_USART2_UART_Init(void)
{

  huart2.Instance = USART2;
  huart2.Init.BaudRate = 115200;
  huart2.Init.WordLength = UART_WORDLENGTH_8B;
  huart2.Init.StopBits = UART_STOPBITS_1;
  huart2.Init.Parity = UART_PARITY_NONE;
  huart2.Init.Mode = UART_MODE_TX_RX;
  huart2.Init.HwFlowCtl = UART_HWCONTROL_NONE;
  huart2.Init.OverSampling = UART_OVERSAMPLING_16;
  if (HAL_UART_Init(&huart2) != HAL_OK)
  {
    Error_Handler();
  }

}

static void MX_USART3_UART_Init(void)
{

  huart3.Instance = USART3;
  huart3.Init.BaudRate = 9600;
  huart3.Init.WordLength = UART_WORDLENGTH_8B;
  huart3.Init.StopBits = UART_STOPBITS_1;
  huart3.Init.Parity = UART_PARITY_NONE;
  huart3.Init.Mode = UART_MODE_TX_RX;
  huart3.Init.HwFlowCtl = UART_HWCONTROL_NONE;
  huart3.Init.OverSampling = UART_OVERSAMPLING_16;
  if (HAL_UART_Init(&huart3) != HAL_OK)
  {
    Error_Handler();
  }

}

static void MX_GPIO_Init(void)
{
  GPIO_InitTypeDef GPIO_InitStruct = {0};

  /* GPIO Ports Clock Enable */
  __HAL_RCC_GPIOE_CLK_ENABLE();
  __HAL_RCC_GPIOC_CLK_ENABLE();
  __HAL_RCC_GPIOH_CLK_ENABLE();
  __HAL_RCC_GPIOA_CLK_ENABLE();
  __HAL_RCC_GPIOB_CLK_ENABLE();
  __HAL_RCC_GPIOD_CLK_ENABLE();

  /*Configure GPIO pin Output Level */
  HAL_GPIO_WritePin(GPIOE, CS_I2C_SPI_Pin|FrenPWM_L_Pin|FrenPWM_R_Pin, GPIO_PIN_RESET);

  /*Configure GPIO pin Output Level */
  HAL_GPIO_WritePin(OTG_FS_PowerSwitchOn_GPIO_Port, OTG_FS_PowerSwitchOn_Pin, GPIO_PIN_SET);

  /*Configure GPIO pin Output Level */
  HAL_GPIO_WritePin(GPIOA, FrenEn_L_Pin|FrenEn_R_Pin, GPIO_PIN_RESET);

  /*Configure GPIO pin Output Level */
  HAL_GPIO_WritePin(GPIOD, DireksiyonEn_L_Pin|DireksiyonEn_R_Pin|LD4_Pin|LD3_Pin
                          |LD5_Pin|LD6_Pin|LEFT_SIGNAL_Pin|RIGHT_SIGNAL_Pin
                          |EMERGENCY_SIGNAL_Pin|Audio_RST_Pin|FRONT_LAMB_Pin|STOP_SIGNAL_Pin, GPIO_PIN_RESET);

  /*Configure GPIO pin Output Level */
  HAL_GPIO_WritePin(BLDC_ROLE_GPIO_Port, BLDC_ROLE_Pin, GPIO_PIN_RESET);

  /*Configure GPIO pin Output Level */
  HAL_GPIO_WritePin(RS485_Dir_GPIO_Port, RS485_Dir_Pin, GPIO_PIN_RESET);

  /*Configure GPIO pins : JOYSTICK_PRESS_BREAK_Pin JOYSTICK_RELEASE_BREAK_Pin AUTO_RESET_Pin FrenSwitch_Press_Pin
                           FrenSwitch_Release_Pin JOYSTICK_FORWARD_Pin JOYSTICK_REVERSE_Pin */
  GPIO_InitStruct.Pin = JOYSTICK_PRESS_BREAK_Pin|JOYSTICK_RELEASE_BREAK_Pin|AUTO_RESET_Pin|FrenSwitch_Press_Pin
                          |FrenSwitch_Release_Pin|JOYSTICK_FORWARD_Pin|JOYSTICK_REVERSE_Pin;
  GPIO_InitStruct.Mode = GPIO_MODE_INPUT;
  GPIO_InitStruct.Pull = GPIO_PULLUP;
  HAL_GPIO_Init(GPIOE, &GPIO_InitStruct);

  /*Configure GPIO pins : CS_I2C_SPI_Pin FrenPWM_L_Pin FrenPWM_R_Pin */
  GPIO_InitStruct.Pin = CS_I2C_SPI_Pin|FrenPWM_L_Pin|FrenPWM_R_Pin;
  GPIO_InitStruct.Mode = GPIO_MODE_OUTPUT_PP;
  GPIO_InitStruct.Pull = GPIO_NOPULL;
  GPIO_InitStruct.Speed = GPIO_SPEED_FREQ_LOW;
  HAL_GPIO_Init(GPIOE, &GPIO_InitStruct);

  /*Configure GPIO pin : OTG_FS_PowerSwitchOn_Pin */
  GPIO_InitStruct.Pin = OTG_FS_PowerSwitchOn_Pin;
  GPIO_InitStruct.Mode = GPIO_MODE_OUTPUT_PP;
  GPIO_InitStruct.Pull = GPIO_NOPULL;
  GPIO_InitStruct.Speed = GPIO_SPEED_FREQ_LOW;
  HAL_GPIO_Init(OTG_FS_PowerSwitchOn_GPIO_Port, &GPIO_InitStruct);

  /*Configure GPIO pins : Absolute_1_Pin Absolute_2_Pin Absolute_3_Pin Absolute_4_Pin
                           Absolute_5_Pin Absolute_6_Pin Absolute_7_Pin Absolute_8_Pin
                           Absolute_9_Pin */
  GPIO_InitStruct.Pin = Absolute_1_Pin|Absolute_2_Pin|Absolute_3_Pin|Absolute_4_Pin
                          |Absolute_5_Pin|Absolute_6_Pin|Absolute_7_Pin|Absolute_8_Pin
                          |Absolute_9_Pin;
  GPIO_InitStruct.Mode = GPIO_MODE_IT_RISING_FALLING;
  GPIO_InitStruct.Pull = GPIO_NOPULL;
  HAL_GPIO_Init(GPIOC, &GPIO_InitStruct);

  /*Configure GPIO pin : B1_Pin */
  GPIO_InitStruct.Pin = B1_Pin;
  GPIO_InitStruct.Mode = GPIO_MODE_EVT_RISING;
  GPIO_InitStruct.Pull = GPIO_NOPULL;
  HAL_GPIO_Init(B1_GPIO_Port, &GPIO_InitStruct);

  /*Configure GPIO pins : FrenEn_L_Pin FrenEn_R_Pin */
  GPIO_InitStruct.Pin = FrenEn_L_Pin|FrenEn_R_Pin;
  GPIO_InitStruct.Mode = GPIO_MODE_OUTPUT_PP;
  GPIO_InitStruct.Pull = GPIO_NOPULL;
  GPIO_InitStruct.Speed = GPIO_SPEED_FREQ_LOW;
  HAL_GPIO_Init(GPIOA, &GPIO_InitStruct);

  /*Configure GPIO pin : BOOT1_Pin */
  GPIO_InitStruct.Pin = BOOT1_Pin;
  GPIO_InitStruct.Mode = GPIO_MODE_INPUT;
  GPIO_InitStruct.Pull = GPIO_NOPULL;
  HAL_GPIO_Init(BOOT1_GPIO_Port, &GPIO_InitStruct);

  /*Configure GPIO pins : MANUEL_SWITCH_Pin MANUEL_SWITCH2_Pin ECO_MODE_Pin TURBO_MODE_Pin */
  GPIO_InitStruct.Pin = MANUEL_SWITCH_Pin|MANUEL_SWITCH2_Pin|ECO_MODE_Pin|TURBO_MODE_Pin;
  GPIO_InitStruct.Mode = GPIO_MODE_INPUT;
  GPIO_InitStruct.Pull = GPIO_PULLUP;
  HAL_GPIO_Init(GPIOB, &GPIO_InitStruct);

  /*Configure GPIO pins : DireksiyonEn_L_Pin DireksiyonEn_R_Pin LD4_Pin LD3_Pin
                           LD5_Pin LD6_Pin Audio_RST_Pin */
  GPIO_InitStruct.Pin = DireksiyonEn_L_Pin|DireksiyonEn_R_Pin|LD4_Pin|LD3_Pin
                          |LD5_Pin|LD6_Pin|Audio_RST_Pin;
  GPIO_InitStruct.Mode = GPIO_MODE_OUTPUT_PP;
  GPIO_InitStruct.Pull = GPIO_NOPULL;
  GPIO_InitStruct.Speed = GPIO_SPEED_FREQ_LOW;
  HAL_GPIO_Init(GPIOD, &GPIO_InitStruct);

  /*Configure GPIO pin : BLDC_ROLE_Pin */
  GPIO_InitStruct.Pin = BLDC_ROLE_Pin;
  GPIO_InitStruct.Mode = GPIO_MODE_OUTPUT_PP;
  GPIO_InitStruct.Pull = GPIO_PULLDOWN;
  GPIO_InitStruct.Speed = GPIO_SPEED_FREQ_LOW;
  HAL_GPIO_Init(BLDC_ROLE_GPIO_Port, &GPIO_InitStruct);

  /*Configure GPIO pins : LEFT_SIGNAL_Pin RIGHT_SIGNAL_Pin FRONT_LAMB_Pin STOP_SIGNAL_Pin */
  GPIO_InitStruct.Pin = LEFT_SIGNAL_Pin|RIGHT_SIGNAL_Pin|FRONT_LAMB_Pin|STOP_SIGNAL_Pin;
  GPIO_InitStruct.Mode = GPIO_MODE_OUTPUT_PP;
  GPIO_InitStruct.Pull = GPIO_PULLDOWN;
  GPIO_InitStruct.Speed = GPIO_SPEED_FREQ_LOW;
  HAL_GPIO_Init(GPIOD, &GPIO_InitStruct);

  /*Configure GPIO pin : EMERGENCY_SIGNAL_Pin */
  GPIO_InitStruct.Pin = EMERGENCY_SIGNAL_Pin;
  GPIO_InitStruct.Mode = GPIO_MODE_OUTPUT_PP;
  GPIO_InitStruct.Pull = GPIO_PULLUP;
  GPIO_InitStruct.Speed = GPIO_SPEED_FREQ_LOW;
  HAL_GPIO_Init(EMERGENCY_SIGNAL_GPIO_Port, &GPIO_InitStruct);

  /*Configure GPIO pin : OTG_FS_OverCurrent_Pin */
  GPIO_InitStruct.Pin = OTG_FS_OverCurrent_Pin;
  GPIO_InitStruct.Mode = GPIO_MODE_INPUT;
  GPIO_InitStruct.Pull = GPIO_NOPULL;
  HAL_GPIO_Init(OTG_FS_OverCurrent_GPIO_Port, &GPIO_InitStruct);

  /*Configure GPIO pin : RS485_Dir_Pin */
  GPIO_InitStruct.Pin = RS485_Dir_Pin;
  GPIO_InitStruct.Mode = GPIO_MODE_OUTPUT_PP;
  GPIO_InitStruct.Pull = GPIO_NOPULL;
  GPIO_InitStruct.Speed = GPIO_SPEED_FREQ_LOW;
  HAL_GPIO_Init(RS485_Dir_GPIO_Port, &GPIO_InitStruct);

  /* EXTI interrupt init*/
  HAL_NVIC_SetPriority(EXTI1_IRQn, 0, 0);
  HAL_NVIC_EnableIRQ(EXTI1_IRQn);

  HAL_NVIC_SetPriority(EXTI2_IRQn, 0, 0);
  HAL_NVIC_EnableIRQ(EXTI2_IRQn);

  HAL_NVIC_SetPriority(EXTI3_IRQn, 0, 0);
  HAL_NVIC_EnableIRQ(EXTI3_IRQn);

  HAL_NVIC_SetPriority(EXTI4_IRQn, 0, 0);
  HAL_NVIC_EnableIRQ(EXTI4_IRQn);

  HAL_NVIC_SetPriority(EXTI9_5_IRQn, 0, 0);
  HAL_NVIC_EnableIRQ(EXTI9_5_IRQn);

}

/* USER CODE BEGIN 4 */
void HAL_GPIO_EXTI_Callback(uint16_t GPIO_Pin)
{

}

/* USER CODE END 4 */

void Error_Handler(void)
{
  __disable_irq();
  while (1)
  {
  }
}
